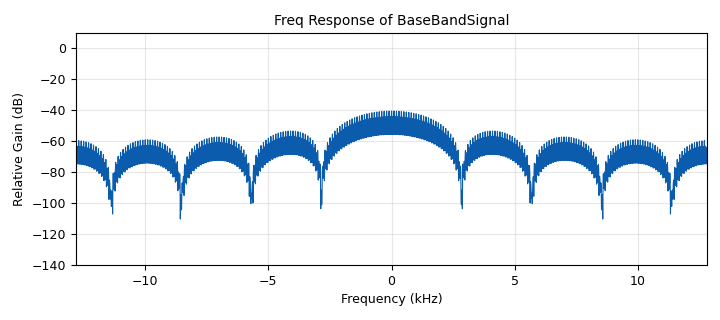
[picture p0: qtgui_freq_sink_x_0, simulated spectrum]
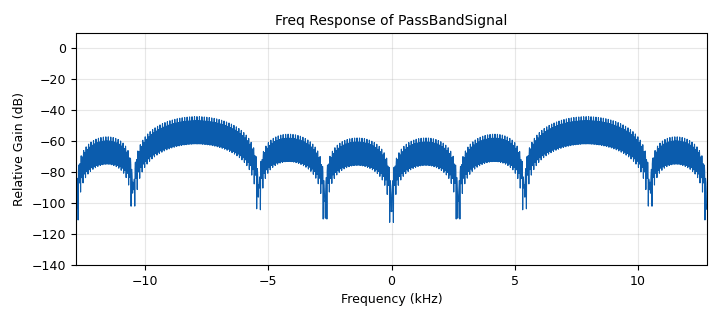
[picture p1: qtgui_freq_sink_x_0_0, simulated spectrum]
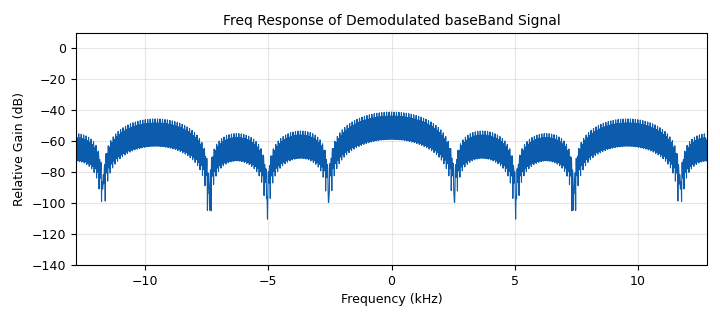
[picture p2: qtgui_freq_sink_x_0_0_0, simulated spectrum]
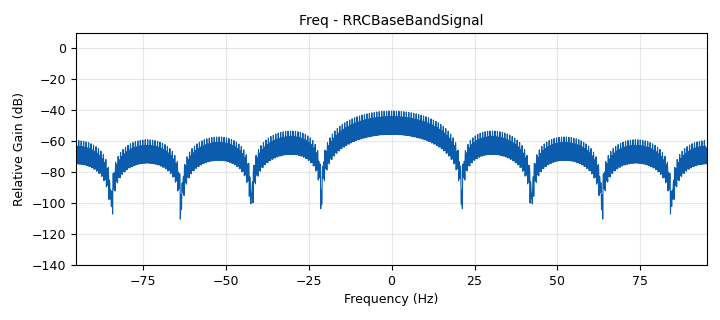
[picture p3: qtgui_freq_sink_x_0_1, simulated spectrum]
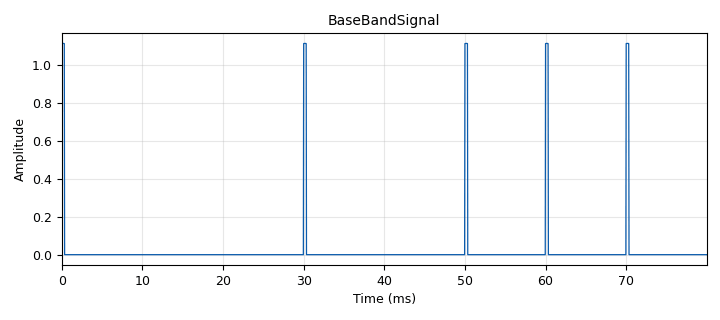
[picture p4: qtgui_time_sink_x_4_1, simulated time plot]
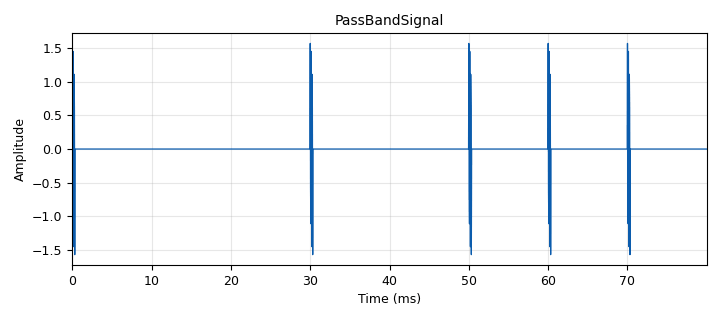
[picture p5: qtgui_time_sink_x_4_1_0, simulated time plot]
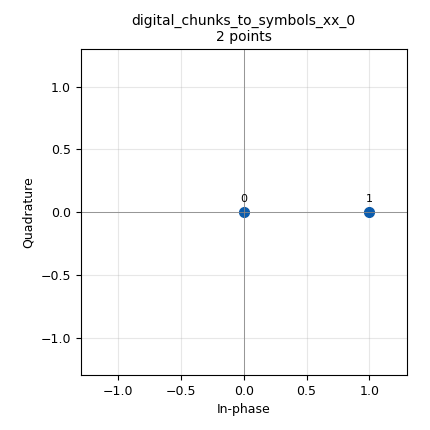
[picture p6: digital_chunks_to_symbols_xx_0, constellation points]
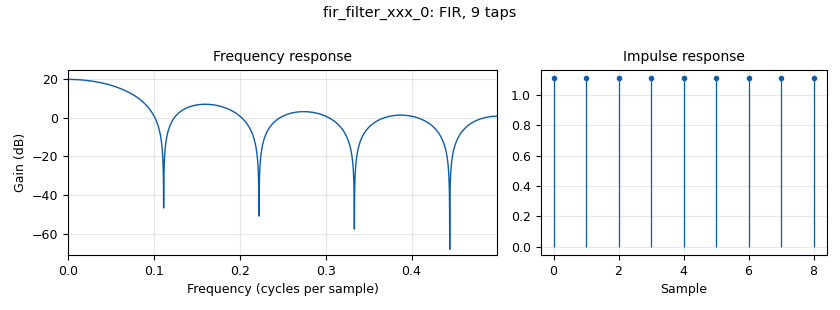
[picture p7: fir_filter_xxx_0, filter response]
options:
  parameters:
    generate_options: qt_gui
    id: ASK_grFlowgraph
    output_language: python
    title: Not titled yet
  states: {}

blocks:
- name: excess_bw
  id: variable
  parameters:
    value: '0.9'
  states: {}
- name: fc
  id: variable
  parameters:
    value: '8000'
  states: {}
- name: interpolation_factor
  id: variable
  parameters:
    value: '256'
  states: {}
- name: ntaps
  id: variable
  parameters:
    comment: |-
      for short bursts of data like 8 symbols 
      ntaps = 16 is ok.  which introduce very small group delay and it does not distort the signal
    value: '8'
  states: {}
- name: rrc_taps
  id: variable
  parameters:
    value: numpy.array ( firdes.root_raised_cosine(10,samp_rate,symbol_rate, excess_bw,ntaps))
  states: {}
- name: samp_rate
  id: variable
  parameters:
    value: symbol_rate * interpolation_factor
  states: {}
- name: symbol_rate
  id: variable
  parameters:
    value: 2*50
  states: {}
- name: analog_sig_source_x_0
  id: analog_sig_source_x
  parameters:
    amp: '1.414'
    freq: fc
    offset: '0'
    phase: '0'
    samp_rate: samp_rate
    type: float
    waveform: analog.GR_COS_WAVE
  states: {}
- name: analog_sig_source_x_0_0
  id: analog_sig_source_x
  parameters:
    amp: '1.414'
    freq: fc
    offset: '0'
    phase: '0'
    samp_rate: samp_rate
    type: float
    waveform: analog.GR_COS_WAVE
  states: {}
- name: blocks_multiply_xx_0
  id: blocks_multiply_xx
  parameters:
    type: float
  states: {}
- name: blocks_multiply_xx_0_0
  id: blocks_multiply_xx
  parameters:
    type: float
  states: {}
- name: blocks_null_sink_0
  id: blocks_null_sink
  parameters:
    type: float
  states: {}
- name: blocks_throttle2_0
  id: blocks_throttle2
  parameters:
    limit: items
    maximum: '2'
    samples_per_second: symbol_rate
    type: float
  states: {}
- name: blocks_vector_source_x_0
  id: blocks_vector_source_x
  parameters:
    repeat: 'False'
    type: byte
    vector: (1, 0, 0,1,0,1,1,1)
  states: {}
- name: digital_chunks_to_symbols_xx_0
  id: digital_chunks_to_symbols_xx
  parameters:
    dimension: '1'
    in_type: byte
    out_type: float
    symbol_table: '[0,1]'
  states: {}
- name: epy_block_0_0
  id: epy_block
  parameters:
    _source_code: |
      """
      Embedded Python Blocks:

      Each time this file is saved, GRC will instantiate the first class it finds
      to get ports and parameters of your block. The arguments to __init__  will
      be the parameters. All of them are required to have default values!
      """


      import numpy as np
      from gnuradio import gr

      class byte_display_block(gr.sync_block):
          def __init__(self):
              gr.sync_block.__init__(self,
                  name="Byte Display Block",
                  in_sig=[np.uint8],
                  out_sig=None)

          def work(self, input_items, output_items):
              for byte in input_items[0]:
                  print(f"Byte: {byte:08b}")  # Display as 8-bit binary
              return len(input_items[0])
  states: {state: disabled}
- name: fir_filter_xxx_0
  id: fir_filter_xxx
  parameters:
    decim: samp_rate // symbol_rate
    taps: rrc_taps
    type: fff
  states: {}
- name: import_0
  id: import
  parameters:
    imports: import numpy
  states: {}
- name: interp_fir_filter_xxx_0
  id: interp_fir_filter_xxx
  parameters:
    interp: interpolation_factor
    taps: rrc_taps
    type: fff
  states: {}
- name: qtgui_freq_sink_x_0
  id: qtgui_freq_sink_x
  parameters:
    bw: samp_rate
    comment: |-
      2*((symbol_rate/2)*(1+excess_bw))

      (vs)

      samp_rate
    fc: '0'
    fftsize: 1024*2
    name: '"Freq Response of BaseBandSignal"'
    type: float
    update_time: '2'
    wintype: window.WIN_BLACKMAN
  states: {}
- name: qtgui_freq_sink_x_0_0
  id: qtgui_freq_sink_x
  parameters:
    bw: samp_rate
    fc: '0'
    fftsize: 1024*2
    name: '"Freq Response of PassBandSignal"'
    type: float
    update_time: '500'
  states: {}
- name: qtgui_freq_sink_x_0_0_0
  id: qtgui_freq_sink_x
  parameters:
    bw: samp_rate
    fc: '0'
    fftsize: 1024*2
    name: '"Freq Response of Demodulated baseBand Signal"'
    type: float
    update_time: '500'
  states: {}
- name: qtgui_freq_sink_x_0_0_0_0
  id: qtgui_freq_sink_x
  parameters:
    average: '0.05'
    bw: (samp_rate/interpolation_factor)/2
    fc: '0'
    fftsize: 1024*2
    name: '"Freq Response of DecimatedFIR o/p"'
    type: float
    update_time: '0.0001'
    ymax: '1'
  states: {state: disabled}
- name: qtgui_freq_sink_x_0_1
  id: qtgui_freq_sink_x
  parameters:
    bw: 2*((symbol_rate/2)*(1+excess_bw))
    comment: |-
      2*((symbol_rate/2)*(1+excess_bw))

      (vs)

      samp_rate
    fc: '0'
    fftsize: 1024*2
    name: '"Freq - RRCBaseBandSignal"'
    type: float
    update_time: '2'
    wintype: window.WIN_BLACKMAN
  states: {}
- name: qtgui_freq_sink_x_0_1_0
  id: qtgui_freq_sink_x
  parameters:
    bw: symbol_rate
    comment: |-
      2*((symbol_rate/2)*(1+excess_bw))

      (vs)

      samp_rate
    fc: '0'
    fftsize: 1024*2
    name: '"Freq - symbolSeq"'
    type: float
    update_time: '2'
    wintype: window.WIN_BLACKMAN
  states: {state: disabled}
- name: qtgui_time_sink_x_4_1
  id: qtgui_time_sink_x
  parameters:
    autoscale: 'True'
    grid: 'True'
    name: '"BaseBandSignal"'
    size: (256*8)
    srate: samp_rate
    type: float
    update_time: 1*100
  states: {}
- name: qtgui_time_sink_x_4_1_0
  id: qtgui_time_sink_x
  parameters:
    autoscale: 'True'
    grid: 'True'
    name: '"PassBandSignal"'
    size: 256*8
    srate: samp_rate
    type: float
    update_time: '20'
  states: {}
- name: qtgui_time_sink_x_4_1_0_0
  id: qtgui_time_sink_x
  parameters:
    autoscale: 'True'
    comment: |-
      observe aliased frequency components at 10Khz
      cos(2π8kt)⋅cos(2π8kt)=  1/2*x(n) + 1/2*x(n)*cos(2π⋅16kt)

      Aliased frequency=16kHz−25.6kHz=−9.6kHz
    grid: 'True'
    name: '"demodulated Baseband Signal"'
    size: 256*8
    srate: samp_rate
    type: float
    update_time: '100'
  states: {}
- name: qtgui_time_sink_x_4_1_1
  id: qtgui_time_sink_x
  parameters:
    autoscale: 'True'
    grid: 'True'
    name: '"symbols"'
    size: 8*1
    srate: symbol_rate
    type: float
    update_time: '500'
  states: {}
- name: qtgui_time_sink_x_4_1_2
  id: qtgui_time_sink_x
  parameters:
    autoscale: 'True'
    grid: 'True'
    name: '"Recovered BaseBandSignal"'
    size: '8'
    srate: samp_rate//interpolation_factor
    type: float
    update_time: '100'
  states: {}
- name: virtual_sink_1
  id: virtual_sink
  parameters:
    stream_id: BaseBand_Signal
  states: {}
- name: virtual_sink_1_0
  id: virtual_sink
  parameters:
    stream_id: Passband_ASKsignal
  states: {}
- name: virtual_source_1
  id: virtual_source
  parameters:
    stream_id: BaseBand_Signal
  states: {}
- name: virtual_source_1_0
  id: virtual_source
  parameters:
    stream_id: BaseBand_Signal
  states: {}
- name: virtual_source_1_0_0
  id: virtual_source
  parameters:
    stream_id: Passband_ASKsignal
  states: {}
- name: virtual_source_1_0_0_0
  id: virtual_source
  parameters:
    stream_id: Passband_ASKsignal
  states: {}

connections:
- [analog_sig_source_x_0, '0', blocks_multiply_xx_0, '1']
- [analog_sig_source_x_0_0, '0', blocks_multiply_xx_0_0, '1']
- [blocks_multiply_xx_0, '0', virtual_sink_1_0, '0']
- [blocks_multiply_xx_0_0, '0', fir_filter_xxx_0, '0']
- [blocks_multiply_xx_0_0, '0', qtgui_freq_sink_x_0_0_0, '0']
- [blocks_multiply_xx_0_0, '0', qtgui_time_sink_x_4_1_0_0, '0']
- [blocks_throttle2_0, '0', interp_fir_filter_xxx_0, '0']
- [blocks_throttle2_0, '0', qtgui_freq_sink_x_0_1_0, '0']
- [blocks_throttle2_0, '0', qtgui_time_sink_x_4_1_1, '0']
- [blocks_vector_source_x_0, '0', digital_chunks_to_symbols_xx_0, '0']
- [blocks_vector_source_x_0, '0', epy_block_0_0, '0']
- [digital_chunks_to_symbols_xx_0, '0', blocks_throttle2_0, '0']
- [fir_filter_xxx_0, '0', qtgui_freq_sink_x_0_0_0_0, '0']
- [fir_filter_xxx_0, '0', qtgui_time_sink_x_4_1_2, '0']
- [interp_fir_filter_xxx_0, '0', blocks_null_sink_0, '0']
- [interp_fir_filter_xxx_0, '0', virtual_sink_1, '0']
- [virtual_source_1, '0', qtgui_freq_sink_x_0, '0']
- [virtual_source_1, '0', qtgui_freq_sink_x_0_1, '0']
- [virtual_source_1, '0', qtgui_time_sink_x_4_1, '0']
- [virtual_source_1_0, '0', blocks_multiply_xx_0, '0']
- [virtual_source_1_0_0, '0', qtgui_freq_sink_x_0_0, '0']
- [virtual_source_1_0_0, '0', qtgui_time_sink_x_4_1_0, '0']
- [virtual_source_1_0_0_0, '0', blocks_multiply_xx_0_0, '0']

metadata:
  file_format: 1
  grc_version: 3.10.11.0
